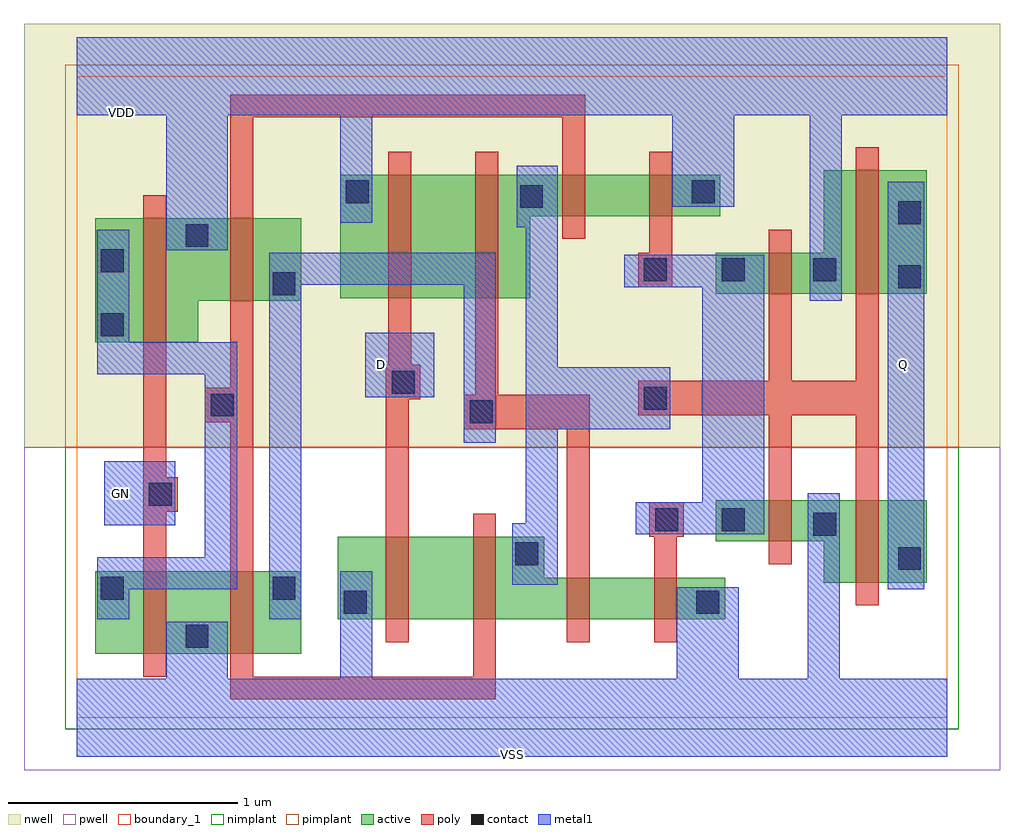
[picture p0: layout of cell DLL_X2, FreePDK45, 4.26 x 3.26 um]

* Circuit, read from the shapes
.subckt DLL_X2 D GN Q VDD VSS
M1 VSS GN n1 VSUBS nfet w=0.36u l=0.1u
M2 n2 n1 VSS VSUBS nfet w=0.36u l=0.1u
M3 n3 D VSS VSUBS nfet w=0.36u l=0.1u
M4 n4 n1 n3 VSUBS nfet w=0.36u l=0.1u
M5 n5 n2 n4 VSUBS nfet w=0.18u l=0.1u
M6 VSS n6 n5 VSUBS nfet w=0.18u l=0.1u
M7 VSS n4 n6 VSUBS nfet w=0.18u l=0.1u
M8 Q n4 VSS VSUBS nfet w=0.36u l=0.1u
M9 VDD GN n1 n7 pfet w=0.54u l=0.1u
M10 n2 n1 VDD n7 pfet w=0.36u l=0.1u
M11 n8 D VDD n7 pfet w=0.54u l=0.1u
M12 n4 n2 n8 n7 pfet w=0.54u l=0.1u
M13 n9 n1 n4 n7 pfet w=0.18u l=0.1u
M14 VDD n6 n9 n7 pfet w=0.18u l=0.1u
M15 VDD n4 n6 n7 pfet w=0.18u l=0.1u
M16 Q n4 VDD n7 pfet w=0.54u l=0.1u
.ends

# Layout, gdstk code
import gdstk
lib = gdstk.Library(unit=1e-6, precision=1e-09)
def R(c, l, rs):  # rectangles x0, y0, x1, y1
    for r in rs: c.add(gdstk.rectangle(r[:2], r[2:], *l))
def P(c, l, *ps):  # polygons
    for p in ps: c.add(gdstk.Polygon(p, *l))
active = (1, 0)
pwell = (2, 0)
nwell = (3, 0)
nimplant = (4, 0)
pimplant = (5, 0)
poly = (9, 0)
contact = (10, 0)
metal1 = (11, 0)
boundary_1 = (235, 1)

dll_x2 = lib.new_cell('DLL_X2')
R(dll_x2, active, [(0.08,0.28,0.98,0.64)])
P(dll_x2, active, [(2.79,1.85),(3.71,1.85),(3.71,2.39),(3.26,2.39),(3.26,2.03),(2.79,2.03)],
  [(2.79,0.77),(3.26,0.77),(3.26,0.59),(3.71,0.59),(3.71,0.95),(2.79,0.95)],
  [(1.14,0.43),(2.83,0.43),(2.83,0.61),(2.04,0.61),(2.04,0.79),(1.14,0.79)],
  [(1.15,1.83),(1.98,1.83),(1.98,2.19),(2.81,2.19),(2.81,2.37),(1.15,2.37)],
  [(0.08,1.64),(0.53,1.64),(0.53,1.82),(0.98,1.82),(0.98,2.18),(0.08,2.18)])
R(dll_x2, pwell, [(-0.23,-0.23,4.03,1.18)])
R(dll_x2, nwell, [(-0.23,1.18,4.03,3.03)])
R(dll_x2, nimplant, [(-0.05,-0.05,3.85,1.18)])
R(dll_x2, pimplant, [(-0.05,1.18,3.85,2.85)])
P(dll_x2, poly, [(2.45,1.32),(3.02,1.32),(3.02,0.67),(3.12,0.67),(3.12,1.32),(3.4,1.32),(3.4,0.49),(3.5,0.49),(3.5,2.49),(3.4,2.49),(3.4,1.47),(3.12,1.47),(3.12,2.13),(3.02,2.13),(3.02,1.47),(2.45,1.47)],
  [(2.5,0.79),(2.52,0.79),(2.52,0.33),(2.62,0.33),(2.62,0.79),(2.65,0.79),(2.65,0.94),(2.5,0.94)],
  [(2.45,1.88),(2.6,1.88),(2.6,2.47),(2.5,2.47),(2.5,2.03),(2.45,2.03)],
  [(1.69,1.26),(2.14,1.26),(2.14,0.33),(2.24,0.33),(2.24,1.41),(1.84,1.41),(1.84,2.47),(1.74,2.47),(1.74,1.41),(1.69,1.41)],
  [(0.77,2.62),(2.12,2.62),(2.12,2.09),(2.22,2.09),(2.22,2.72),(0.67,2.72),(0.67,1.44),(0.56,1.44),(0.56,1.29),(0.67,1.29),(0.67,0.08),(1.83,0.08),(1.83,0.89),(1.73,0.89),(1.73,0.18),(0.77,0.18)],
  [(1.35,0.33),(1.45,0.33),(1.45,1.39),(1.5,1.39),(1.5,1.54),(1.46,1.54),(1.46,2.47),(1.36,2.47),(1.36,1.54),(1.35,1.54)],
  [(0.29,0.18),(0.39,0.18),(0.39,0.9),(0.44,0.9),(0.44,1.05),(0.39,1.05),(0.39,2.28),(0.29,2.28)])
R(dll_x2, contact, [(0.475,0.305,0.575,0.405), (1.165,0.455,1.265,0.555), (2.705,0.455,2.805,0.555), (0.105,0.515,0.205,0.615), (0.855,0.515,0.955,0.615), (3.585,0.645,3.685,0.745), (1.915,0.665,2.015,0.765), (3.215,0.795,3.315,0.895), (2.525,0.815,2.625,0.915), (2.815,0.815,2.915,0.915), (0.315,0.925,0.415,1.025), (1.715,1.285,1.815,1.385), (0.585,1.315,0.685,1.415), (2.475,1.345,2.575,1.445), (1.375,1.415,1.475,1.515), (0.105,1.665,0.205,1.765), (0.855,1.845,0.955,1.945), (3.585,1.875,3.685,1.975), (2.475,1.905,2.575,2.005), (2.815,1.905,2.915,2.005), (3.215,1.905,3.315,2.005), (0.105,1.945,0.205,2.045), (0.475,2.055,0.575,2.155), (3.585,2.155,3.685,2.255), (1.935,2.225,2.035,2.325), (1.175,2.245,1.275,2.345), (2.685,2.245,2.785,2.345)])
R(dll_x2, metal1, [(3.54,0.56,3.7,2.34), (3.54,0.56,3.7,2.34), (0.12,0.84,0.43,1.12), (0.12,0.84,0.43,1.12), (1.26,1.4,1.56,1.68), (1.26,1.4,1.56,1.68)])
P(dll_x2, metal1, [(0,-0.17),(3.8,-0.17),(3.8,0.17),(3.33,0.17),(3.33,0.98),(3.19,0.98),(3.19,0.17),(2.89,0.17),(2.89,0.57),(2.62,0.57),(2.62,0.17),(1.29,0.17),(1.29,0.64),(1.15,0.64),(1.15,0.17),(0.66,0.17),(0.66,0.42),(0.39,0.42),(0.39,0.17),(0,0.17)],
  [(0,2.63),(0.39,2.63),(0.39,2.04),(0.66,2.04),(0.66,2.63),(1.15,2.63),(1.15,2.16),(1.29,2.16),(1.29,2.63),(2.6,2.63),(2.6,2.23),(2.87,2.23),(2.87,2.63),(3.2,2.63),(3.2,1.82),(3.34,1.82),(3.34,2.63),(3.8,2.63),(3.8,2.97),(0,2.97)],
  [(0,2.63),(0.39,2.63),(0.39,2.04),(0.66,2.04),(0.66,2.63),(1.15,2.63),(1.15,2.16),(1.29,2.16),(1.29,2.63),(2.6,2.63),(2.6,2.23),(2.87,2.23),(2.87,2.63),(3.2,2.63),(3.2,1.82),(3.34,1.82),(3.34,2.63),(3.8,2.63),(3.8,2.97),(0,2.97)],
  [(0,-0.17),(3.8,-0.17),(3.8,0.17),(3.33,0.17),(3.33,0.98),(3.19,0.98),(3.19,0.17),(2.89,0.17),(2.89,0.57),(2.62,0.57),(2.62,0.17),(1.29,0.17),(1.29,0.64),(1.15,0.64),(1.15,0.17),(0.66,0.17),(0.66,0.42),(0.39,0.42),(0.39,0.17),(0,0.17)],
  [(2.39,1.88),(2.73,1.88),(2.73,0.94),(2.44,0.94),(2.44,0.8),(3,0.8),(3,2.02),(2.39,2.02)],
  [(1.92,2.14),(1.96,2.14),(1.96,0.85),(1.9,0.85),(1.9,0.58),(2.1,0.58),(2.1,1.26),(2.59,1.26),(2.59,1.53),(2.1,1.53),(2.1,2.41),(1.92,2.41)],
  [(0.84,0.43),(0.98,0.43),(0.98,1.89),(1.69,1.89),(1.69,1.2),(1.83,1.2),(1.83,2.03),(0.84,2.03)],
  [(0.09,1.5),(0.56,1.5),(0.56,0.7),(0.09,0.7),(0.09,0.43),(0.23,0.43),(0.23,0.56),(0.7,0.56),(0.7,1.64),(0.23,1.64),(0.23,2.13),(0.09,2.13)])
R(dll_x2, boundary_1, [(0,0,3.8,2.8)])
dll_x2.add(gdstk.Label('VSS', (1.9,-0.16), layer=11, texttype=0))
dll_x2.add(gdstk.Label('VDD', (0.195,2.64), layer=11, texttype=0))
dll_x2.add(gdstk.Label('Q', (3.61,1.54), layer=11, texttype=0))
dll_x2.add(gdstk.Label('GN', (0.19,0.98), layer=11, texttype=0))
dll_x2.add(gdstk.Label('D', (1.33,1.54), layer=11, texttype=0))

lib.write_gds('DLL_X2.gds')
